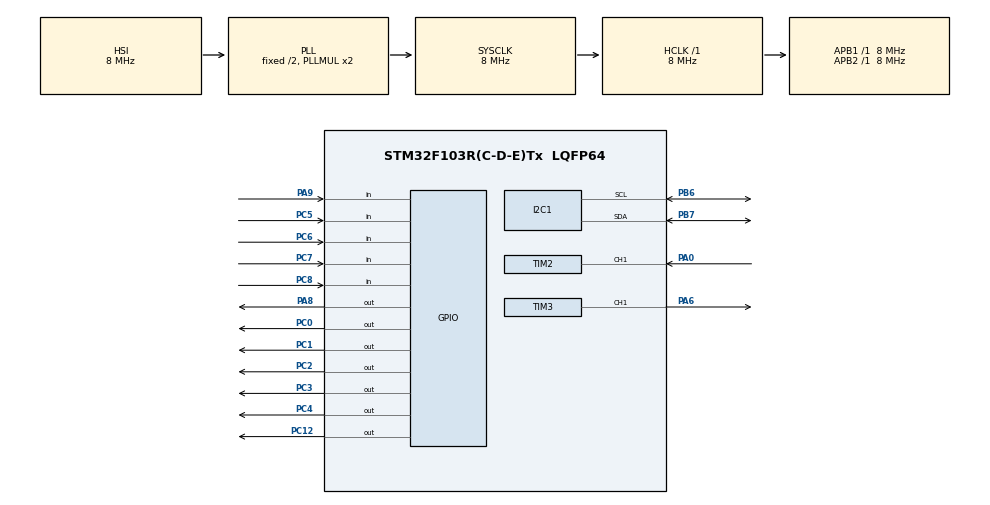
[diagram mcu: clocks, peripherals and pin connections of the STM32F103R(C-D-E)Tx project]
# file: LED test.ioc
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Mcu.Family=STM32F1
Mcu.Name=STM32F103R(C-D-E)Tx
Mcu.Package=LQFP64
NVIC.PriorityGroup=NVIC_PRIORITYGROUP_4
NVIC.TIM2_IRQn=true\:0\:0\:true\:false\:true\:true\:true
NVIC.TIM6_IRQn=true\:0\:0\:false\:false\:true\:true\:true
PA0-WKUP.Signal=S_TIM2_CH1_ETR
PA13.Mode=JTAG_5_pins
PA13.Signal=SYS_JTMS-SWDIO
PA14.Mode=JTAG_5_pins
PA14.Signal=SYS_JTCK-SWCLK
PA15.Mode=JTAG_5_pins
PA15.Signal=SYS_JTDI
PA6.Signal=S_TIM3_CH1
PA8.Signal=GPIO_Output
PA9.Signal=GPIO_Input
PB3.Mode=JTAG_5_pins
PB3.Signal=SYS_JTDO-TRACESWO
PB4.Mode=JTAG_5_pins
PB4.Signal=SYS_NJTRST
PB6.Mode=I2C
PB6.Signal=I2C1_SCL
PB7.Mode=I2C
PB7.Signal=I2C1_SDA
PC0.Signal=GPIO_Output
PC1.Signal=GPIO_Output
PC12.Signal=GPIO_Output
PC2.Signal=GPIO_Output
PC3.Signal=GPIO_Output
PC4.Signal=GPIO_Output
PC5.Signal=GPIO_Input
PC6.Signal=GPIO_Input
PC7.Signal=GPIO_Input
PC8.Signal=GPIO_Input
PD0-OSC_IN.Mode=HSE-External-Oscillator
PD0-OSC_IN.Signal=RCC_OSC_IN
PD1-OSC_OUT.Mode=HSE-External-Oscillator
PD1-OSC_OUT.Signal=RCC_OSC_OUT
ProjectManager.HeapSize=0x200
ProjectManager.StackSize=0x400
ProjectManager.TargetToolchain=MDK-ARM V5
RCC.AHBFreq_Value=8000000
RCC.APB1Freq_Value=8000000
RCC.APB1TimFreq_Value=8000000
RCC.APB2Freq_Value=8000000
RCC.APB2TimFreq_Value=8000000
RCC.HCLKFreq_Value=8000000
RCC.SYSCLKFreq_VALUE=8000000
RCC.SYSCLKSource=RCC_SYSCLKSOURCE_PLLCLK
RCC.USBFreq_Value=8000000
SH.S_TIM2_CH1_ETR.0=TIM2_CH1,Input_Capture1_from_TI1
SH.S_TIM3_CH1.0=TIM3_CH1,PWM Generation1 CH1
TIM2.Channel-Input_Capture1_from_TI1=TIM_CHANNEL_1
TIM2.Period=39999
TIM2.Prescaler=3999
TIM3.Channel-PWM\ Generation1\ CH1=TIM_CHANNEL_1
TIM3.Period=999
TIM3.Prescaler=79
TIM6.Period=99
TIM6.Prescaler=7999
VP_TIM2_VS_ClockSourceINT.Mode=Internal
VP_TIM3_VS_ClockSourceINT.Mode=Internal
VP_TIM6_VS_ClockSourceINT.Mode=Enable_Timer
board=custom

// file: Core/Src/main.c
/* USER CODE BEGIN Header */
/**
  ******************************************************************************
  * @file           : main.c
  * @brief          : Main program body
  ******************************************************************************
  * @attention
  *
  * <h2><center>&copy; Copyright (c) 2020 STMicroelectronics.
  * All rights reserved.</center></h2>
  *
  * This software component is licensed by ST under BSD 3-Clause license,
  * the "License"; You may not use this file except in compliance with the
  * License. You may obtain a copy of the License at:
  *                        opensource.org/licenses/BSD-3-Clause
  *
  ******************************************************************************
  */
/* USER CODE END Header */
#include "main.h"

/* USER CODE BEGIN Includes */
#include "GUI.h"
#include "Keypad.h"
#include <string.h>
#include "PID.h"

/* USER CODE END Includes */

/* USER CODE BEGIN PTD */
#include <stdio.h>

void WriteScreen(int val);
char content[3];
int val;
volatile int Freq_val = 10;
volatile uint32_t IC_Value1 = 0;
volatile uint32_t IC_Value2 = 0;
volatile uint32_t Difference = 0;
volatile int32_t Frequency = 1;
volatile uint8_t Is_First_Captured = 0;  // 0- not captured, 1- captured
//bool keys[20];
char * pressed_char;
//uint8_t curser[2] = {0,0};
//int8_t curser_state = 0;
uint8_t xStep = 11;
//uint8_t blink_speed =2;
//uint8_t blink_counter =0;
uint16_t dutyCycle;

application_windows myapp;

/* USER CODE END PTD */

I2C_HandleTypeDef hi2c1;

TIM_HandleTypeDef htim2;
TIM_HandleTypeDef htim3;
TIM_HandleTypeDef htim6;

void SystemClock_Config(void);
static void MX_GPIO_Init(void);
static void MX_I2C1_Init(void);
static void MX_TIM2_Init(void);
static void MX_TIM6_Init(void);
static void MX_TIM3_Init(void);
/* USER CODE BEGIN PFP */
static void keypad_Init(void);
void set_rpm(uint16_t input_number);
/* USER CODE END PFP */

int main(void)
{
  /* USER CODE BEGIN 1 */
	myapp.mainwin.name = "H";
	myapp.menu.name = "B";

	GUI_menu__init__(&myapp.menu);
	GUI_about__init__(&myapp.about);
	GUI_mainwindow__init__(&myapp.mainwin);
	GUI_show_speed__init__(&myapp.speed_show);
	GUI_set_speed__init__(&myapp.speed_set);
	GUI_settingSpeed__init__(&myapp.setting_speed);
	GUI_invalid__init__(&myapp.invalid);

	/*
	GUI_mainwin__init__(myapp.mainwin);
	GUI_about__init__(myapp.about);
	GUI_speed_show__init__(myapp.speed_show);
	GUI_speed_set__init__(myapp.speed_set);
	*/

  /* USER CODE END 1 */

  /* MCU Configuration--------------------------------------------------------*/

  /* Reset of all peripherals, Initializes the Flash interface and the Systick. */
  HAL_Init();

  /* Configure the system clock */
  SystemClock_Config();

  /* Initialize all configured peripherals */
  MX_GPIO_Init();
  MX_I2C1_Init();
  MX_TIM2_Init();
  MX_TIM6_Init();
  MX_TIM3_Init();

  /* Infinite loop */
  /* USER CODE BEGIN WHILE */
  ssd1306_Init();
  keypad_Init();

  //`GUI_StartDemo();

  /*/
  ssd1306_SetCursor(2,32-9);
  ssd1306_WriteString("Speed:",Font_11x18,Black);

  ssd1306_WriteString("120",Font_11x18,Black);
  ssd1306_SetCursor(101,32-9+5);
  ssd1306_WriteString("RPM",Font_7x10,White);

  ssd1306_UpdateScreen();
  */
  WriteScreen(324);
  HAL_TIM_IC_Start_IT(&htim2, TIM_CHANNEL_1);
  HAL_TIM_PWM_Start(&htim3, TIM_CHANNEL_1);
  //HAL_TIM_Base_Start_IT(&htim6); //I am not using timer6 interrupt for screen update

  dutyCycle = HAL_TIM_ReadCapturedValue(&htim3, TIM_CHANNEL_1);
  dutyCycle = 100;

  GUI_newScreen();
  window new_window = myapp.menu;
  new_window.status = 1;
  __HAL_TIM_SET_COMPARE(&htim3, TIM_CHANNEL_1, dutyCycle);
  while (1)
  {

	  //HAL_GPIO_TogglePin(GPIOA, GPIO_PIN_8);
	  /*
	  while (dutyCycle < __HAL_TIM_GET_AUTORELOAD(&htim3)){
		  __HAL_TIM_SET_COMPARE(&htim3, TIM_CHANNEL_1, ++dutyCycle);
		  HAL_Delay(20);
	  }

	  while (dutyCycle > 0 ){
		  __HAL_TIM_SET_COMPARE(&htim3, TIM_CHANNEL_1, --dutyCycle);
		  HAL_Delay(20);
	  }
	  */

	  HAL_Delay(100);
	  HAL_GPIO_TogglePin(GPIOC, GPIO_PIN_12);

	  new_window = GUI_router(&new_window, &myapp);

	  HAL_Delay(100);

    /* USER CODE END WHILE */

  }
}

void SystemClock_Config(void)
{
  RCC_OscInitTypeDef RCC_OscInitStruct = {0};
  RCC_ClkInitTypeDef RCC_ClkInitStruct = {0};

  /** Initializes the RCC Oscillators according to the specified parameters
  * in the RCC_OscInitTypeDef structure.
  */
  RCC_OscInitStruct.OscillatorType = RCC_OSCILLATORTYPE_HSI;
  RCC_OscInitStruct.HSIState = RCC_HSI_ON;
  RCC_OscInitStruct.HSICalibrationValue = RCC_HSICALIBRATION_DEFAULT;
  RCC_OscInitStruct.PLL.PLLState = RCC_PLL_ON;
  RCC_OscInitStruct.PLL.PLLSource = RCC_PLLSOURCE_HSI_DIV2;
  RCC_OscInitStruct.PLL.PLLMUL = RCC_PLL_MUL2;
  if (HAL_RCC_OscConfig(&RCC_OscInitStruct) != HAL_OK)
  {
    Error_Handler();
  }
  /** Initializes the CPU, AHB and APB buses clocks
  */
  RCC_ClkInitStruct.ClockType = RCC_CLOCKTYPE_HCLK|RCC_CLOCKTYPE_SYSCLK
                              |RCC_CLOCKTYPE_PCLK1|RCC_CLOCKTYPE_PCLK2;
  RCC_ClkInitStruct.SYSCLKSource = RCC_SYSCLKSOURCE_PLLCLK;
  RCC_ClkInitStruct.AHBCLKDivider = RCC_SYSCLK_DIV1;
  RCC_ClkInitStruct.APB1CLKDivider = RCC_HCLK_DIV1;
  RCC_ClkInitStruct.APB2CLKDivider = RCC_HCLK_DIV1;

  if (HAL_RCC_ClockConfig(&RCC_ClkInitStruct, FLASH_LATENCY_0) != HAL_OK)
  {
    Error_Handler();
  }
}

static void MX_I2C1_Init(void)
{

  hi2c1.Instance = I2C1;
  hi2c1.Init.ClockSpeed = 100000;
  hi2c1.Init.DutyCycle = I2C_DUTYCYCLE_2;
  hi2c1.Init.OwnAddress1 = 0;
  hi2c1.Init.AddressingMode = I2C_ADDRESSINGMODE_7BIT;
  hi2c1.Init.DualAddressMode = I2C_DUALADDRESS_DISABLE;
  hi2c1.Init.OwnAddress2 = 0;
  hi2c1.Init.GeneralCallMode = I2C_GENERALCALL_DISABLE;
  hi2c1.Init.NoStretchMode = I2C_NOSTRETCH_DISABLE;
  if (HAL_I2C_Init(&hi2c1) != HAL_OK)
  {
    Error_Handler();
  }

}

static void MX_TIM2_Init(void)
{

  TIM_ClockConfigTypeDef sClockSourceConfig = {0};
  TIM_MasterConfigTypeDef sMasterConfig = {0};
  TIM_IC_InitTypeDef sConfigIC = {0};

  htim2.Instance = TIM2;
  htim2.Init.Prescaler = 3999;
  htim2.Init.CounterMode = TIM_COUNTERMODE_UP;
  htim2.Init.Period = 39999;
  htim2.Init.ClockDivision = TIM_CLOCKDIVISION_DIV1;
  htim2.Init.AutoReloadPreload = TIM_AUTORELOAD_PRELOAD_DISABLE;
  if (HAL_TIM_Base_Init(&htim2) != HAL_OK)
  {
    Error_Handler();
  }
  sClockSourceConfig.ClockSource = TIM_CLOCKSOURCE_INTERNAL;
  if (HAL_TIM_ConfigClockSource(&htim2, &sClockSourceConfig) != HAL_OK)
  {
    Error_Handler();
  }
  if (HAL_TIM_IC_Init(&htim2) != HAL_OK)
  {
    Error_Handler();
  }
  sMasterConfig.MasterOutputTrigger = TIM_TRGO_RESET;
  sMasterConfig.MasterSlaveMode = TIM_MASTERSLAVEMODE_DISABLE;
  if (HAL_TIMEx_MasterConfigSynchronization(&htim2, &sMasterConfig) != HAL_OK)
  {
    Error_Handler();
  }
  sConfigIC.ICPolarity = TIM_INPUTCHANNELPOLARITY_RISING;
  sConfigIC.ICSelection = TIM_ICSELECTION_DIRECTTI;
  sConfigIC.ICPrescaler = TIM_ICPSC_DIV1;
  sConfigIC.ICFilter = 0;
  if (HAL_TIM_IC_ConfigChannel(&htim2, &sConfigIC, TIM_CHANNEL_1) != HAL_OK)
  {
    Error_Handler();
  }
  /* USER CODE BEGIN TIM2_Init 2 */
    //HAL_TIM_IC_Init(&htim2);
	//HAL_TIM_IC_ConfigChannel(&htim2, &sConfigIC, TIM_CHANNEL_1);

  /* USER CODE END TIM2_Init 2 */

}

static void MX_TIM3_Init(void)
{

  TIM_ClockConfigTypeDef sClockSourceConfig = {0};
  TIM_MasterConfigTypeDef sMasterConfig = {0};
  TIM_OC_InitTypeDef sConfigOC = {0};

  htim3.Instance = TIM3;
  htim3.Init.Prescaler = 79;
  htim3.Init.CounterMode = TIM_COUNTERMODE_UP;
  htim3.Init.Period = 999;
  htim3.Init.ClockDivision = TIM_CLOCKDIVISION_DIV1;
  htim3.Init.AutoReloadPreload = TIM_AUTORELOAD_PRELOAD_DISABLE;
  if (HAL_TIM_Base_Init(&htim3) != HAL_OK)
  {
    Error_Handler();
  }
  sClockSourceConfig.ClockSource = TIM_CLOCKSOURCE_INTERNAL;
  if (HAL_TIM_ConfigClockSource(&htim3, &sClockSourceConfig) != HAL_OK)
  {
    Error_Handler();
  }
  if (HAL_TIM_PWM_Init(&htim3) != HAL_OK)
  {
    Error_Handler();
  }
  sMasterConfig.MasterOutputTrigger = TIM_TRGO_RESET;
  sMasterConfig.MasterSlaveMode = TIM_MASTERSLAVEMODE_DISABLE;
  if (HAL_TIMEx_MasterConfigSynchronization(&htim3, &sMasterConfig) != HAL_OK)
  {
    Error_Handler();
  }
  sConfigOC.OCMode = TIM_OCMODE_PWM1;
  sConfigOC.Pulse = 0;
  sConfigOC.OCPolarity = TIM_OCPOLARITY_HIGH;
  sConfigOC.OCFastMode = TIM_OCFAST_DISABLE;
  if (HAL_TIM_PWM_ConfigChannel(&htim3, &sConfigOC, TIM_CHANNEL_1) != HAL_OK)
  {
    Error_Handler();
  }
  HAL_TIM_MspPostInit(&htim3);

}

static void MX_TIM6_Init(void)
{

  TIM_MasterConfigTypeDef sMasterConfig = {0};

  htim6.Instance = TIM6;
  htim6.Init.Prescaler = 7999;
  htim6.Init.CounterMode = TIM_COUNTERMODE_UP;
  htim6.Init.Period = 99;
  htim6.Init.AutoReloadPreload = TIM_AUTORELOAD_PRELOAD_DISABLE;
  if (HAL_TIM_Base_Init(&htim6) != HAL_OK)
  {
    Error_Handler();
  }
  sMasterConfig.MasterOutputTrigger = TIM_TRGO_RESET;
  sMasterConfig.MasterSlaveMode = TIM_MASTERSLAVEMODE_DISABLE;
  if (HAL_TIMEx_MasterConfigSynchronization(&htim6, &sMasterConfig) != HAL_OK)
  {
    Error_Handler();
  }

}

static void MX_GPIO_Init(void)
{
  GPIO_InitTypeDef GPIO_InitStruct = {0};

  /* GPIO Ports Clock Enable */
  __HAL_RCC_GPIOD_CLK_ENABLE();
  __HAL_RCC_GPIOC_CLK_ENABLE();
  __HAL_RCC_GPIOA_CLK_ENABLE();
  __HAL_RCC_GPIOB_CLK_ENABLE();

  /*Configure GPIO pin Output Level */
  HAL_GPIO_WritePin(GPIOC, GPIO_PIN_0|GPIO_PIN_1|GPIO_PIN_2|GPIO_PIN_3
                          |GPIO_PIN_4|GPIO_PIN_12, GPIO_PIN_RESET);

  /*Configure GPIO pin Output Level */
  HAL_GPIO_WritePin(GPIOA, GPIO_PIN_8, GPIO_PIN_RESET);

  /*Configure GPIO pins : PC0 PC1 PC2 PC3
                           PC4 PC12 */
  GPIO_InitStruct.Pin = GPIO_PIN_0|GPIO_PIN_1|GPIO_PIN_2|GPIO_PIN_3
                          |GPIO_PIN_4|GPIO_PIN_12;
  GPIO_InitStruct.Mode = GPIO_MODE_OUTPUT_PP;
  GPIO_InitStruct.Pull = GPIO_NOPULL;
  GPIO_InitStruct.Speed = GPIO_SPEED_FREQ_LOW;
  HAL_GPIO_Init(GPIOC, &GPIO_InitStruct);

  /*Configure GPIO pins : PC5 PC6 PC7 PC8 */
  GPIO_InitStruct.Pin = GPIO_PIN_5|GPIO_PIN_6|GPIO_PIN_7|GPIO_PIN_8;
  GPIO_InitStruct.Mode = GPIO_MODE_INPUT;
  GPIO_InitStruct.Pull = GPIO_NOPULL;
  HAL_GPIO_Init(GPIOC, &GPIO_InitStruct);

  /*Configure GPIO pin : PA8 */
  GPIO_InitStruct.Pin = GPIO_PIN_8;
  GPIO_InitStruct.Mode = GPIO_MODE_OUTPUT_PP;
  GPIO_InitStruct.Pull = GPIO_NOPULL;
  GPIO_InitStruct.Speed = GPIO_SPEED_FREQ_LOW;
  HAL_GPIO_Init(GPIOA, &GPIO_InitStruct);

  /*Configure GPIO pin : PA9 */
  GPIO_InitStruct.Pin = GPIO_PIN_9;
  GPIO_InitStruct.Mode = GPIO_MODE_INPUT;
  GPIO_InitStruct.Pull = GPIO_NOPULL;
  HAL_GPIO_Init(GPIOA, &GPIO_InitStruct);

}

/* USER CODE BEGIN 4 */

void HAL_TIM_PeriodElapsedCallback(TIM_HandleTypeDef *htim){
	/*
	I wrote this funciton to control the update of screen via interrupts.
	But I found out that it interferes with the interrupt of timer2 (which controls the Input Capture)
	So I testd whether the interrupt of timer2 can break the delay in while loop, and I figured out that
	that is the case and timer2 interrupt can do so. So I am still handling the screen update with delay in the main loop.
	*/

	if (htim->Instance == TIM6){

		//HAL_GPIO_TogglePin(GPIOC, GPIO_PIN_12);
		//WriteScreen(120000/Freq_val);
	}
}

static void keypad_Init(void){
	keypad_typedef keypad_struct;

	keypad_struct.COL0_port = GPIOC;
	keypad_struct.COL1_port = GPIOC;
	keypad_struct.COL2_port = GPIOC;
	keypad_struct.COL3_port = GPIOC;

	keypad_struct.ROW0_port = GPIOC;
	keypad_struct.ROW1_port = GPIOC;
	keypad_struct.ROW2_port = GPIOC;
	keypad_struct.ROW3_port = GPIOC;
	keypad_struct.ROW4_port = GPIOC;

	keypad_struct.COL0_pin = GPIO_PIN_8;
	keypad_struct.COL1_pin = GPIO_PIN_7;
	keypad_struct.COL2_pin = GPIO_PIN_6;
	keypad_struct.COL3_pin = GPIO_PIN_5;

	keypad_struct.ROW0_pin = GPIO_PIN_0;
	keypad_struct.ROW1_pin = GPIO_PIN_1;
	keypad_struct.ROW2_pin = GPIO_PIN_2;
	keypad_struct.ROW3_pin = GPIO_PIN_3;
	keypad_struct.ROW4_pin = GPIO_PIN_4;

	keypad_init(&keypad_struct);

}

void set_dutycycle(uint16_t input_number){
	__HAL_TIM_SET_COMPARE(&htim3, TIM_CHANNEL_1, input_number);
}

void HAL_TIM_IC_CaptureCallback(TIM_HandleTypeDef *htim)
{

	 //WriteScreen(Frequency*60);

	if (htim->Channel == HAL_TIM_ACTIVE_CHANNEL_1)  // if interrput source is channel 1
	{

		if (Is_First_Captured==0)  // is the first value captured ?
		{
			IC_Value1 = HAL_TIM_ReadCapturedValue(htim, TIM_CHANNEL_1);  // capture the first value
			Is_First_Captured =1;  // set the first value captured as true
			HAL_GPIO_TogglePin(GPIOA, GPIO_PIN_8);
		}

		else if (Is_First_Captured)  // if the first is captured
		{
			IC_Value2 = HAL_TIM_ReadCapturedValue(htim, TIM_CHANNEL_1);  // capture second value

			if (IC_Value2 > IC_Value1)
			{
				Difference = IC_Value2-IC_Value1;   // calculate the difference
			}

			else if (IC_Value2 < IC_Value1)
			{
				Difference = ((0x9c40-IC_Value1)+IC_Value2) +1;
			}

			else
			{
				Error_Handler();
			}

			//Frequency = HAL_RCC_GetPCLK1Freq()/Difference;  // calculate frequency
			Frequency = Difference;
			Is_First_Captured = 0;  // reset the first captured
		}
		//WriteScreen(152);
		//HAL_Delay(500);
		HAL_GPIO_TogglePin(GPIOA, GPIO_PIN_8);
		Freq_val = Frequency;

	}

}
/* USER CODE END 4 */

void Error_Handler(void)
{
  /* USER CODE BEGIN Error_Handler_Debug */
  /* User can add his own implementation to report the HAL error return state */
	//WriteScreen(500);

  /* USER CODE END Error_Handler_Debug */
}

/************************ (C) COPYRIGHT STMicroelectronics *****END OF FILE****/
